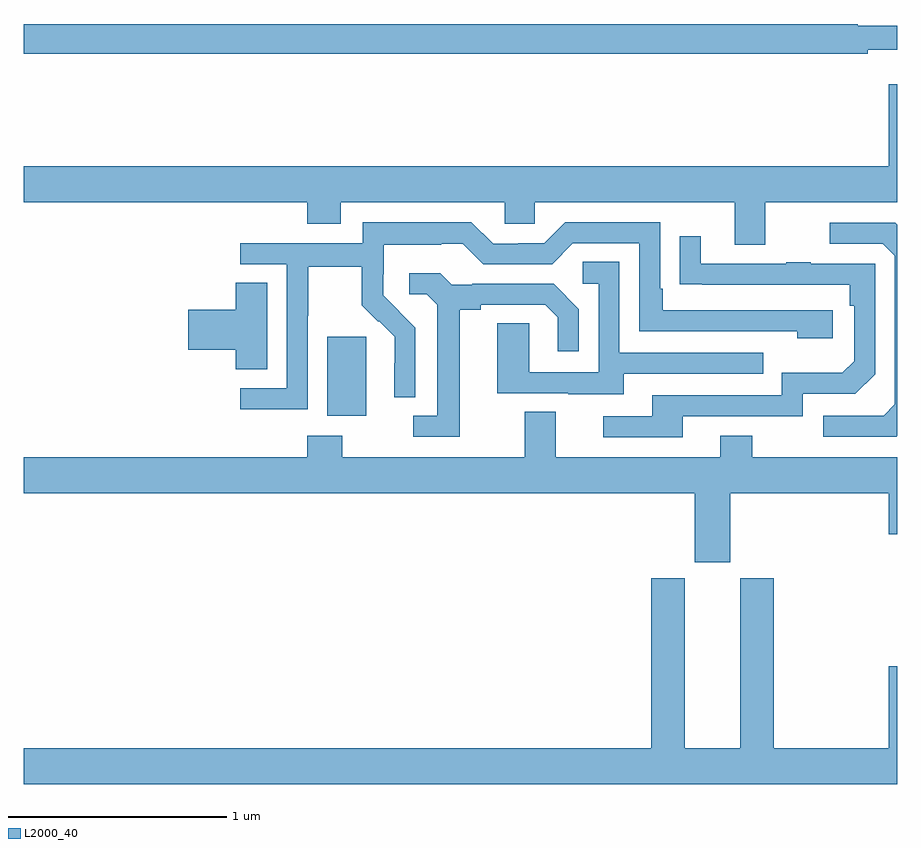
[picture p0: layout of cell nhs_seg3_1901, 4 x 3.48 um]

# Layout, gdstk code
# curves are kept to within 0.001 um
import gdstk
lib = gdstk.Library(unit=1e-6, precision=1e-09)
def R(c, l, rs):  # rectangles x0, y0, x1, y1
    for r in rs: c.add(gdstk.rectangle(r[:2], r[2:], *l))
def P(c, l, *ps):  # polygons
    for p in ps: c.add(gdstk.Polygon(p, *l))
L2000_40 = (2000, 40)

nhs_seg3_1901 = lib.new_cell('nhs_seg3_1901')
R(nhs_seg3_1901, L2000_40, [(210.389,702.602,210.568,702.963)])
P(nhs_seg3_1901, L2000_40, [(212.864,704.279),(213,704.279),(213,704.389),(212.818,704.389),(212.818,704.396),(209,704.396),(209,704.26),(212.864,704.26)],
  [(209,703.58),(210.299,703.58),(210.299,703.481),(210.451,703.481),(210.451,703.58),(211.203,703.58),(211.203,703.482),(211.341,703.482),(211.341,703.58),(212.255,703.58),(212.255,703.386),(212.395,703.386),(212.395,703.58),(213,703.58),(213,704.119),(212.96,704.119),(212.96,703.744),(209,703.744)],
  [(210.3,703.06),(210.303,703.06),(210.303,703.284),(210.547,703.284),(210.547,703.109),(210.624,703.032),(210.627,703.035),(210.698,702.965),(210.698,702.842),(210.696,702.842),(210.696,702.688),(210.792,702.688),(210.792,703.006),(210.646,703.154),(210.646,703.251),(210.648,703.251),(210.648,703.385),(210.911,703.385),(210.911,703.389),(211.011,703.389),(211.104,703.296),(211.419,703.296),(211.515,703.392),(211.818,703.392),(211.818,702.99),(212.543,702.99),(212.543,702.956),(212.704,702.956),(212.704,703.086),(211.927,703.086),(211.927,703.183),(211.914,703.183),(211.914,703.488),(211.479,703.488),(211.383,703.392),(211.265,703.392),(211.265,703.389),(211.149,703.389),(211.049,703.489),(210.552,703.489),(210.552,703.392),(209.991,703.392),(209.991,703.296),(210.204,703.296),(210.204,702.729),(209.991,702.729),(209.991,702.631),(210.3,702.631)],
  [(213,702.51),(213,703.476),(212.991,703.485),(212.691,703.485),(212.691,703.389),(212.934,703.389),(212.988,703.335),(212.988,702.654),(212.937,702.603),(212.661,702.603),(212.661,702.507),(212.997,702.507)],
  [(212.017,702.6),(212.568,702.6),(212.568,702.702),(212.808,702.702),(212.898,702.792),(212.898,703.299),(212.603,703.299),(212.603,703.304),(212.491,703.304),(212.491,703.299),(212.101,703.299),(212.101,703.423),(212.005,703.423),(212.005,703.204),(212.782,703.203),(212.782,703.106),(212.802,703.106),(212.802,702.852),(212.749,702.799),(212.472,702.799),(212.472,702.696),(211.877,702.696),(211.877,702.6),(211.653,702.6),(211.653,702.504),(212.017,702.504)],
  [(211.747,702.795),(212.387,702.795),(212.387,702.891),(211.728,702.891),(211.728,703.307),(211.56,703.307),(211.56,703.206),(211.632,703.206),(211.632,702.801),(211.314,702.801),(211.314,703.025),(211.169,703.025),(211.169,702.705),(211.493,702.705),(211.493,702.701),(211.747,702.701)],
  [(210.997,703.088),(211.093,703.088),(211.093,703.11),(211.388,703.11),(211.445,703.053),(211.445,702.897),(211.542,702.897),(211.542,703.09),(211.426,703.206),(211.054,703.206),(211.054,703.203),(210.96,703.203),(210.908,703.255),(210.765,703.255),(210.765,703.158),(210.846,703.158),(210.893,703.111),(210.893,702.603),(210.783,702.603),(210.783,702.507),(210.997,702.507)],
  [(210.115,703.211),(209.972,703.211),(209.972,703.088),(209.754,703.088),(209.754,702.905),(209.972,702.905),(209.972,702.814),(210.115,702.814)],
  [(212.236,702.248),(212.96,702.248),(212.96,702.06),(213,702.06),(213,702.412),(212.337,702.412),(212.337,702.511),(212.189,702.511),(212.189,702.412),(211.435,702.412),(211.435,702.62),(211.295,702.62),(211.295,702.412),(210.459,702.412),(210.459,702.511),(210.299,702.511),(210.299,702.412),(209,702.412),(209,702.248),(212.072,702.248),(212.072,701.931),(212.236,701.931)],
  [(213,701.455),(212.96,701.455),(212.96,701.08),(212.435,701.08),(212.435,701.859),(212.282,701.859),(212.282,701.08),(212.026,701.08),(212.026,701.859),(211.874,701.859),(211.874,701.08),(209,701.08),(209,700.916),(213,700.916)])

lib.write_gds('nhs_seg3_1901.gds')
